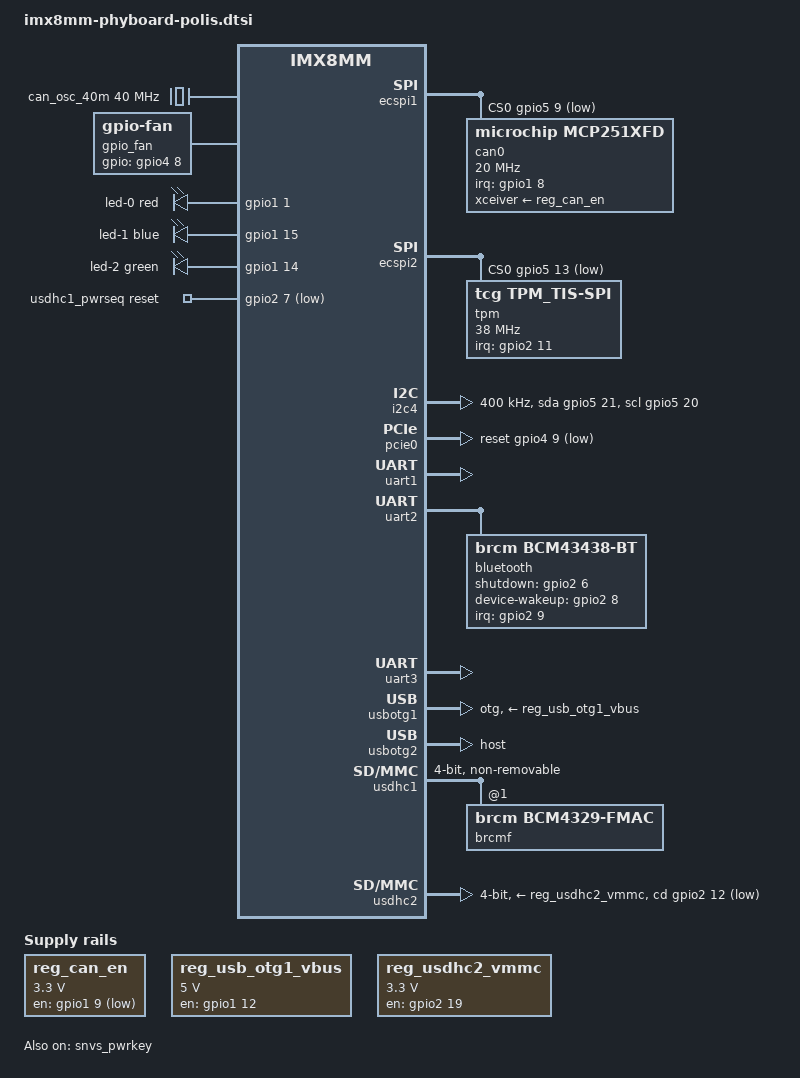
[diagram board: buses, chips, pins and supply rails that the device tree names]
// SPDX-License-Identifier: GPL-2.0
/*
 * Copyright (C) 2019 Daniel Glöckner <dg@emlix.com>
 * Copyright (C) 2019-2020 PHYTEC Messtechnik GmbH
 */

#include <dt-bindings/leds/common.h>

/ {
	chosen {
		stdout-path = &uart3;
	};

	clocks {
		#address-cells = <1>;
		#size-cells = <0>;

		can_osc_40m: can-clock@0 {
			compatible = "fixed-clock";
			reg = <0>;
			#clock-cells = <0>;
			clock-frequency = <40000000>;
			clock-output-names = "can_osc_40m";
		};
	};

	gpio_fan {
		compatible = "gpio-fan";
		pinctrl-names = "default";
		pinctrl-0 = <&pinctrl_fan>;
		gpios = <&gpio4 8 GPIO_ACTIVE_HIGH>;
		gpio-fan,speed-map = <0     0
				      13000 1>;
		#cooling-cells = <2>;
	};

	leds {
		compatible = "gpio-leds";
		pinctrl-names = "default";
		pinctrl-0 = <&pinctrl_leds>;

		led-0 {
			gpios = <&gpio1 1 GPIO_ACTIVE_HIGH>;
			linux,default-trigger = "mmc0";
			color = <LED_COLOR_ID_RED>;
			function = LED_FUNCTION_DISK;
		};

		led-1 {
			gpios = <&gpio1 15 GPIO_ACTIVE_HIGH>;
			linux,default-trigger = "mmc1";
			color = <LED_COLOR_ID_BLUE>;
			function = LED_FUNCTION_DISK;
		};

		led-2 {
			gpios = <&gpio1 14 GPIO_ACTIVE_HIGH>;
			linux,default-trigger = "heartbeat";
			color = <LED_COLOR_ID_GREEN>;
			function = LED_FUNCTION_CPU;
		};
	};

	usdhc1_pwrseq: pwr_seq {
		compatible = "mmc-pwrseq-simple";
		reset-gpios = <&gpio2 7 GPIO_ACTIVE_LOW>;
		post-power-on-delay-ms = <100>;
		power-off-delay-us = <60>;
	};

	reg_can_en: regulator-can-en {
		compatible = "regulator-fixed";
		pinctrl-names = "default";
		pinctrl-0 = <&pinctrl_can_en>;
		regulator-name = "reg_can_en";
		regulator-min-microvolt = <3300000>;
		regulator-max-microvolt = <3300000>;
		gpio = <&gpio1 9 GPIO_ACTIVE_LOW>;
		startup-delay-us = <20>;
	};

	reg_usb_otg1_vbus: regulator-usb-otg1-vbus {
		pinctrl-names = "default";
		pinctrl-0 = <&pinctrl_usbotg1pwrgrp>;
		compatible = "regulator-fixed";
		regulator-name = "usb_otg1_vbus";
		regulator-min-microvolt = <5000000>;
		regulator-max-microvolt = <5000000>;
		gpio = <&gpio1 12 GPIO_ACTIVE_HIGH>;
		enable-active-high;
	};

	reg_usdhc2_vmmc: regulator-usdhc2 {
		compatible = "regulator-fixed";
		enable-active-high;
		gpio = <&gpio2 19 GPIO_ACTIVE_HIGH>;
		off-on-delay-us = <20000>;
		pinctrl-names = "default";
		pinctrl-0 = <&pinctrl_reg_usdhc2_vmmc>;
		regulator-max-microvolt = <3300000>;
		regulator-min-microvolt = <3300000>;
		regulator-name = "VSD_3V3";
	};
};

/* CAN mcp251xfd */
&ecspi1 {
	#address-cells = <1>;
	#size-cells = <0>;
	pinctrl-names = "default";
	pinctrl-0 = <&pinctrl_ecspi1 &pinctrl_ecspi1_cs>;
	cs-gpios = <&gpio5 9 GPIO_ACTIVE_LOW>;
	status = "okay";

	can0: can@0 {
		compatible = "microchip,mcp251xfd";
		reg = <0>;
		spi-max-frequency = <20000000>;
		pinctrl-names = "default";
		pinctrl-0 = <&pinctrl_can_int>;
		interrupt-parent = <&gpio1>;
		interrupts = <8 IRQ_TYPE_LEVEL_LOW>;
		clocks = <&can_osc_40m>;
		xceiver-supply = <&reg_can_en>;
	};
};

/* TPM */
&ecspi2 {
	#address-cells = <1>;
	#size-cells =		<0>;
	num-cs = <1>;
	pinctrl-names = "default";
	pinctrl-0 = <&pinctrl_ecspi2 &pinctrl_ecspi2_cs>;
	cs-gpios = <&gpio5 13 GPIO_ACTIVE_LOW>;
	status = "okay";

	tpm: tpm_tis@0 {
		pinctrl-names = "default";
		pinctrl-0 = <&pinctrl_tpm>;
		compatible = "tcg,tpm_tis-spi";
		reg = <0>;
		spi-max-frequency = <38000000>;
		interrupt-parent = <&gpio2>;
		interrupts = <11 IRQ_TYPE_LEVEL_LOW>;
	};
};

&i2c4 {
	clock-frequency = <400000>;
	pinctrl-names = "default", "gpio";
	pinctrl-0 = <&pinctrl_i2c4>;
	pinctrl-1 = <&pinctrl_i2c4_gpio>;
	sda-gpios = <&gpio5 21 (GPIO_ACTIVE_HIGH | GPIO_OPEN_DRAIN)>;
	scl-gpios = <&gpio5 20 (GPIO_ACTIVE_HIGH | GPIO_OPEN_DRAIN)>;
};

/* PCIe */
&pcie0 {
	pinctrl-names = "default";
	pinctrl-0 = <&pinctrl_pcie>;
	reset-gpio = <&gpio4 9 GPIO_ACTIVE_LOW>;
	clocks = <&clk IMX8MM_CLK_PCIE1_ROOT>,
		<&clk IMX8MM_CLK_PCIE1_AUX>,
		<&clk IMX8MM_CLK_PCIE1_PHY>,
		<&clk IMX8MM_CLK_DUMMY>;
	clock-names = "pcie", "pcie_aux", "pcie_phy", "pcie_bus";
	assigned-clocks = <&clk IMX8MM_CLK_PCIE1_AUX>,
			  <&clk IMX8MM_CLK_PCIE1_PHY>,
			  <&clk IMX8MM_CLK_PCIE1_CTRL>;
	assigned-clock-rates = <10000000>, <100000000>, <250000000>;
	assigned-clock-parents = <&clk IMX8MM_SYS_PLL2_50M>,
				 <&clk IMX8MM_SYS_PLL2_100M>,
				 <&clk IMX8MM_SYS_PLL2_250M>;
	status = "okay";
};

&snvs_pwrkey {
	status = "okay";
};

/* RTC */
&rv3028 {
	trickle-resistor-ohms = <3000>;
	enable-level-switching-mode;
};

/* UART - RS485 */
&uart1 {
	pinctrl-names = "default";
	pinctrl-0 = <&pinctrl_uart1>;
	assigned-clocks = <&clk IMX8MM_CLK_UART1>;
	assigned-clock-parents = <&clk IMX8MM_SYS_PLL1_80M>;
	uart-has-rtscts;
	status = "okay";
};

/* Sterling-LWB Bluetooth & WLAN */
&uart2 {
	pinctrl-names = "default";
	pinctrl-0 = <&pinctrl_uart2_bt>;
	assigned-clocks = <&clk IMX8MM_CLK_UART2>;
	assigned-clock-parents = <&clk IMX8MM_SYS_PLL1_80M>;
	uart-has-rtscts;
	fsl,dte-mode;
	status = "okay";

	bluetooth {
		pinctrl-names = "default";
		pinctrl-0 = <&pinctrl_bt>;
		compatible = "brcm,bcm43438-bt";
		max-speed = <2000000>;
		shutdown-gpios = <&gpio2 6 GPIO_ACTIVE_HIGH>;
		device-wakeup-gpios = <&gpio2 8 GPIO_ACTIVE_HIGH>;
		interrupt-names = "host-wakeup";
		interrupt-parent = <&gpio2>;
		interrupts = <9 IRQ_TYPE_EDGE_BOTH>;
	};
};

/* UART console */
&uart3 {
	pinctrl-names = "default";
	pinctrl-0 = <&pinctrl_uart3>;
	status = "okay";
};

/* USB */
&usbotg1 {
	pinctrl-names = "default";
	pinctrl-0 = <&pinctrl_usbotg1grp>;
	vbus-supply = <&reg_usb_otg1_vbus>;
	dr_mode = "otg";
	over-current-active-low;
	picophy,pre-emp-curr-control = <3>;
	picophy,dc-vol-level-adjust = <7>;
	status = "okay";
};

&usbotg2 {
	dr_mode = "host";
	picophy,pre-emp-curr-control = <3>;
	picophy,dc-vol-level-adjust = <7>;
	status = "okay";
};

&usdhc1 {
	assigned-clocks = <&clk IMX8MM_CLK_USDHC1>;
	assigned-clock-rates = <200000000>;
	#address-cells = <1>;
	#size-cells = <0>;
	pinctrl-names = "default";
	pinctrl-0 = <&pinctrl_usdhc1>, <&pinctrl_wlan>;
	bus-width = <4>;
	non-removable;
	no-1-8-v;
	mmc-pwrseq = <&usdhc1_pwrseq>;
	status = "okay";

	brcmf: wifi@1 {
		reg = <1>;
		compatible = "brcm,bcm4329-fmac";
	};
};

/* SD-Card */
&usdhc2 {
	assigned-clocks = <&clk IMX8MM_CLK_USDHC2>;
	assigned-clock-rates = <200000000>;
	disable-wp;
	vmmc-supply = <&reg_usdhc2_vmmc>;
	vqmmc-supply = <&reg_ldo2>;
	pinctrl-names = "default", "state_100mhz", "state_200mhz";
	pinctrl-0 = <&pinctrl_usdhc2>, <&pinctrl_usdhc2_gpio>;
	pinctrl-1 = <&pinctrl_usdhc2_100mhz>, <&pinctrl_usdhc2_gpio>;
	pinctrl-2 = <&pinctrl_usdhc2_200mhz>, <&pinctrl_usdhc2_gpio>;
	cd-gpios = <&gpio2 12 GPIO_ACTIVE_LOW>;
	bus-width = <4>;
	status = "okay";
};

&iomuxc {
	pinctrl_bt: btgrp {
		fsl,pins = <
			MX8MM_IOMUXC_SD1_DATA4_GPIO2_IO6	0x00
			MX8MM_IOMUXC_SD1_DATA6_GPIO2_IO8	0x00
			MX8MM_IOMUXC_SD1_DATA7_GPIO2_IO9	0x00
		>;
	};

	pinctrl_can_en: can-engrp {
		fsl,pins = <
			MX8MM_IOMUXC_GPIO1_IO09_GPIO1_IO9	0x00
		>;
	};

	pinctrl_can_int: can-intgrp {
		fsl,pins = <
			MX8MM_IOMUXC_GPIO1_IO08_GPIO1_IO8	0x00
		>;
	};

	pinctrl_ecspi1: ecspi1grp {
		fsl,pins = <
			MX8MM_IOMUXC_ECSPI1_SCLK_ECSPI1_SCLK	0x80
			MX8MM_IOMUXC_ECSPI1_MOSI_ECSPI1_MOSI	0x80
			MX8MM_IOMUXC_ECSPI1_MISO_ECSPI1_MISO	0x80
		>;
	};

	pinctrl_ecspi1_cs: ecspi1csgrp {
		fsl,pins = <
			MX8MM_IOMUXC_ECSPI1_SS0_GPIO5_IO9	0x00
		>;
	};

	pinctrl_ecspi2: ecspi2grp {
		fsl,pins = <
			MX8MM_IOMUXC_ECSPI2_SCLK_ECSPI2_SCLK	0x80
			MX8MM_IOMUXC_ECSPI2_MOSI_ECSPI2_MOSI	0x80
			MX8MM_IOMUXC_ECSPI2_MISO_ECSPI2_MISO	0x80
		>;
	};

	pinctrl_ecspi2_cs: ecspi2csgrp {
		fsl,pins = <
			MX8MM_IOMUXC_ECSPI2_SS0_GPIO5_IO13	0x00
		>;
	};

	pinctrl_fan: fan0grp {
		fsl,pins = <
			MX8MM_IOMUXC_SAI1_RXD6_GPIO4_IO8        0x16
		>;
	};

	pinctrl_i2c4: i2c4grp {
		fsl,pins = <
			MX8MM_IOMUXC_I2C4_SCL_I2C4_SCL          0x400001c3
			MX8MM_IOMUXC_I2C4_SDA_I2C4_SDA          0x400001c3
		>;
	};

	pinctrl_i2c4_gpio: i2c4gpiogrp {
		fsl,pins = <
			MX8MM_IOMUXC_I2C4_SCL_GPIO5_IO20        0x1e3
			MX8MM_IOMUXC_I2C4_SDA_GPIO5_IO21        0x1e3
		>;
	};

	pinctrl_leds: leds1grp {
		fsl,pins = <
			MX8MM_IOMUXC_GPIO1_IO01_GPIO1_IO1	0x16
			MX8MM_IOMUXC_GPIO1_IO14_GPIO1_IO14	0x16
			MX8MM_IOMUXC_GPIO1_IO15_GPIO1_IO15	0x16
		>;
	};

	pinctrl_pcie: pciegrp {
		fsl,pins = <
			/* /PERST */
			MX8MM_IOMUXC_SAI1_RXD7_GPIO4_IO9	0x00
			/* COEX1 */
			MX8MM_IOMUXC_SAI1_TXD0_GPIO4_IO12	0x12
			/* COEX2 */
			MX8MM_IOMUXC_SAI1_TXD7_GPIO4_IO19	0x12
		>;
	};

	pinctrl_reg_usdhc2_vmmc: regusdhc2vmmcgrp {
		fsl,pins = <
			MX8MM_IOMUXC_SD2_RESET_B_GPIO2_IO19     0x41
		>;
	};

	pinctrl_tpm: tpmgrp {
		fsl,pins = <
			MX8MM_IOMUXC_SD1_STROBE_GPIO2_IO11	0x140
		>;
	};

	pinctrl_uart1: uart1grp {
		fsl,pins = <
			MX8MM_IOMUXC_SAI2_RXFS_UART1_DCE_TX	0x00
			MX8MM_IOMUXC_SAI2_RXC_UART1_DCE_RX	0x00
			MX8MM_IOMUXC_SAI2_RXD0_UART1_DCE_RTS_B	0x00
			MX8MM_IOMUXC_SAI2_TXFS_UART1_DCE_CTS_B	0x00
		>;
	};

	pinctrl_uart2_bt: uart2btgrp {
		fsl,pins = <
			MX8MM_IOMUXC_SAI3_RXD_UART2_DTE_CTS_B	0x00
			MX8MM_IOMUXC_SAI3_RXC_UART2_DTE_RTS_B	0x00
			MX8MM_IOMUXC_SAI3_TXFS_UART2_DTE_TX	0x00
			MX8MM_IOMUXC_SAI3_TXC_UART2_DTE_RX	0x00
		>;
	};

	pinctrl_uart3: uart3grp {
		fsl,pins = <
			MX8MM_IOMUXC_UART3_RXD_UART3_DCE_RX	0x49
			MX8MM_IOMUXC_UART3_TXD_UART3_DCE_TX	0x49
		>;
	};

	pinctrl_usbotg1pwrgrp: usbotg1pwrgrp {
		fsl,pins = <
			MX8MM_IOMUXC_GPIO1_IO12_GPIO1_IO12	0x00
		>;
	};

	pinctrl_usbotg1grp: usbotg1grp {
		fsl,pins = <
			MX8MM_IOMUXC_GPIO1_IO13_USB1_OTG_OC	0x80
		>;
	};

	pinctrl_usdhc1: usdhc1grp {
		fsl,pins = <
			MX8MM_IOMUXC_SD1_CLK_USDHC1_CLK		0x182
			MX8MM_IOMUXC_SD1_CMD_USDHC1_CMD		0xc6
			MX8MM_IOMUXC_SD1_DATA0_USDHC1_DATA0	0xc6
			MX8MM_IOMUXC_SD1_DATA1_USDHC1_DATA1	0xc6
			MX8MM_IOMUXC_SD1_DATA2_USDHC1_DATA2	0xc6
			MX8MM_IOMUXC_SD1_DATA3_USDHC1_DATA3	0xc6
		>;
	};

	pinctrl_usdhc2_gpio: usdhc2gpiogrp {
		fsl,pins = <
			MX8MM_IOMUXC_SD2_CD_B_GPIO2_IO12	0x41
		>;
	};

	pinctrl_usdhc2: usdhc2grp {
		fsl,pins = <
			MX8MM_IOMUXC_SD2_CLK_USDHC2_CLK		0x192
			MX8MM_IOMUXC_SD2_CMD_USDHC2_CMD		0x1d2
			MX8MM_IOMUXC_SD2_DATA0_USDHC2_DATA0	0x1d2
			MX8MM_IOMUXC_SD2_DATA1_USDHC2_DATA1	0x1d2
			MX8MM_IOMUXC_SD2_DATA2_USDHC2_DATA2	0x1d2
			MX8MM_IOMUXC_SD2_DATA3_USDHC2_DATA3	0x1d2
			MX8MM_IOMUXC_GPIO1_IO04_USDHC2_VSELECT	0x1d0
		>;
	};

	pinctrl_usdhc2_100mhz: usdhc2-100mhzgrp {
		fsl,pins = <
			MX8MM_IOMUXC_SD2_CLK_USDHC2_CLK		0x194
			MX8MM_IOMUXC_SD2_CMD_USDHC2_CMD		0x1d4
			MX8MM_IOMUXC_SD2_DATA0_USDHC2_DATA0	0x1d4
			MX8MM_IOMUXC_SD2_DATA1_USDHC2_DATA1	0x1d4
			MX8MM_IOMUXC_SD2_DATA2_USDHC2_DATA2	0x1d4
			MX8MM_IOMUXC_SD2_DATA3_USDHC2_DATA3	0x1d4
			MX8MM_IOMUXC_GPIO1_IO04_USDHC2_VSELECT	0x1d0
		>;
	};

	pinctrl_usdhc2_200mhz: usdhc2-200mhzgrp {
		fsl,pins = <
			MX8MM_IOMUXC_SD2_CLK_USDHC2_CLK		0x196
			MX8MM_IOMUXC_SD2_CMD_USDHC2_CMD		0x1d6
			MX8MM_IOMUXC_SD2_DATA0_USDHC2_DATA0	0x1d6
			MX8MM_IOMUXC_SD2_DATA1_USDHC2_DATA1	0x1d6
			MX8MM_IOMUXC_SD2_DATA2_USDHC2_DATA2	0x1d6
			MX8MM_IOMUXC_SD2_DATA3_USDHC2_DATA3	0x1d6
			MX8MM_IOMUXC_GPIO1_IO04_USDHC2_VSELECT	0x1d0
		>;
	};

	pinctrl_wlan: wlangrp {
		fsl,pins = <
			MX8MM_IOMUXC_SD1_DATA5_GPIO2_IO7	0x00
		>;
	};
};
